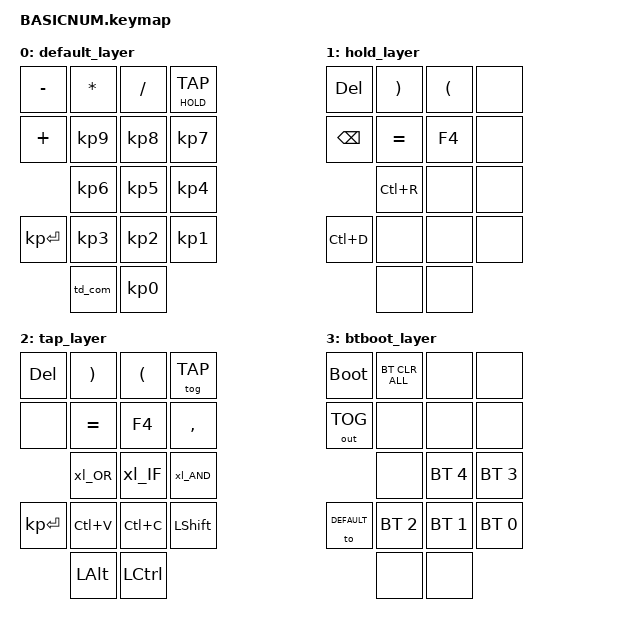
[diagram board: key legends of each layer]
#include <behaviors.dtsi>
#include <dt-bindings/zmk/keys.h>
#include <dt-bindings/zmk/bt.h>
#include <dt-bindings/zmk/outputs.h>
#define DEFAULT 0
#define HOLD 1
#define TAP 2
#define BTBOOT 3

#define NONE 0

/ {
    behaviors {
         mo_tog: behavior_mo_tog {
            compatible = "zmk,behavior-hold-tap";
            #binding-cells = <2>;
            flavor = "hold-preferred";
            tapping-term-ms = <200>;
            bindings = <&mo>, <&tog>;
        };

        td_com: tap_dance_comma {
            compatible = "zmk, behavior-tap-dance";
            #binding-cells = <0>;
            tapping-term-ms = <200>;
            bindings = <&kp DOT>, <&kp COMMA>;
        }
    };

    macros {
        ctrl_shift_v: ctrl_shift_v {
            compatible = "zmk,behavior-macro";
            #binding-cells = <0>;
            bindings
                = <&macro_press &kp LCTRL>
                , <&macro_press &kp LSHIFT>
                , <&macro_tap &kp V>
                , <&macro_release &kp LCTRL>
                , <&macro_release &kp LSHIFT>
                ;
        };

        xl_AND: xl_AND {
            compatible = "zmk,behavior-macro";
            #binding-cells = <0>;
            bindings
                = <&macro_tap &kp LS(A)>
                , <&macro_tap &kp LS(N)>
                , <&macro_tap &kp LS(D)>
                , <&macro_tap &kp LPAR>
                ;
        };

        xl_IF: xl_IF {
            compatible = "zmk,behavior-macro";
            #binding-cells = <0>;
            bindings
                = <&macro_tap &kp LS(I)>
                , <&macro_tap &kp LS(F)>
                , <&macro_tap &kp LPAR>
                ;
        };

        xl_OR: xl_OR {
            compatible = "zmk,behavior-macro";
            #binding-cells = <0>;
            bindings
                = <&macro_tap &kp LS(O)>
                , <&macro_tap &kp LS(R)>
                , <&macro_tap &kp LPAR>
                ;
        };
    };

    //combos {
        //compatible = "zmk,combos";
        //combo_esc {
            //timeout-ms = <50>;
            //key-positions = <0 1>;
            //bindings = <&kp ESC>;
        //};
    //};

    keymap {
        compatible = "zmk,keymap";

        default_layer {

        bindings = <
        &kp MINUS     &kp ASTRK   &kp FSLH    &mo_tog HOLD TAP
        &kp PLUS      &kp KP_N9   &kp KP_N8   &kp KP_N7
                      &kp KP_N6   &kp KP_N5   &kp KP_N4   
        &kp KP_ENTER  &kp KP_N3   &kp KP_N2   &kp KP_N1
                      &td_com     &kp KP_N0 
            >;
        };

        hold_layer {

        bindings = <
        &kp DEL     &kp RPAR    &kp LPAR   &none
        &kp BSPC    &kp EQUAL   &kp F4     &none
                    &kp LC(R)   &none      &none  
        &kp LC(D)   &none       &none      &none
                    &none       &none
            >;
        };

        tap_layer {

        bindings = <
        &kp DEL       &kp RPAR    &kp LPAR    &tog TAP
        &none         &kp EQUAL   &kp F4      &kp COMMA
                      &xl_OR      &xl_IF      &xl_AND 
        &kp KP_ENTER  &kp LC(V)   &kp LC(C)   &kp LSHIFT
                      &kp LALT    &kp LCTRL
            >;
        };

        btboot_layer {

        bindings = <
        &bootloader   &bt BT_CLR_ALL   &none   &none
        &out OUT_TOG   &none   &none   &none
                &none   &bt BT_SEL 4   &bt BT_SEL 3  
        &to DEFAULT   &bt BT_SEL 2   &bt BT_SEL 1   &bt BT_SEL 0
                &none   &none 
            >;
        };
    };
};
